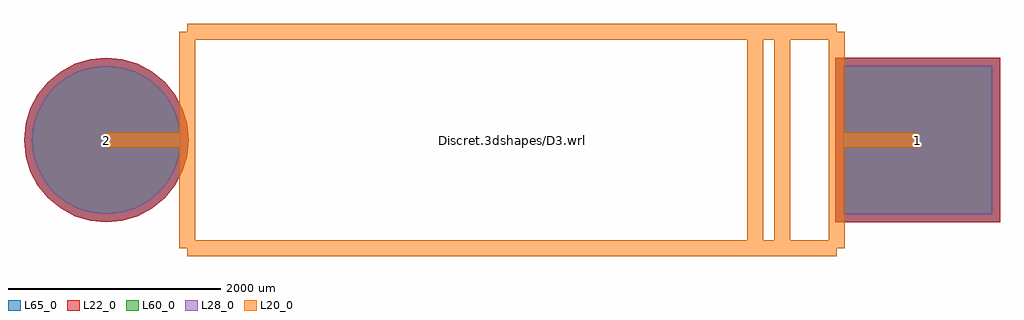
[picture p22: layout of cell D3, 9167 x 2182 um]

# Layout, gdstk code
import gdstk
lib = gdstk.Library(unit=1e-6, precision=1e-09)
def R(c, l, rs):  # rectangles x0, y0, x1, y1
    for r in rs: c.add(gdstk.rectangle(r[:2], r[2:], *l))
def P(c, l, *ps):  # polygons
    for p in ps: c.add(gdstk.Polygon(p, *l))
L20_0 = (20, 0)
L22_0 = (22, 0)
L28_0 = (28, 0)
L60_0 = (60, 0)
L65_0 = (65, 0)

c_d3 = lib.new_cell('D3')
R(c_d3, L22_0, [(3036.5,-773.5,4583.5,773.5)])
P(c_d3, L22_0, [(-3036.5,0),(-3051.363,150.902),(-3095.379,296.006),(-3166.858,429.734),(-3263.053,546.947),(-3380.266,643.142),(-3513.994,714.621),(-3659.098,758.637),(-3810,773.5),(-3960.902,758.637),(-4106.006,714.621),(-4239.734,643.142),(-4356.947,546.947),(-4453.142,429.734),(-4524.621,296.006),(-4568.637,150.902),(-4583.5,0),(-4568.637,-150.902),(-4524.621,-296.006),(-4453.142,-429.734),(-4356.947,-546.947),(-4239.734,-643.142),(-4106.006,-714.621),(-3960.902,-758.637),(-3810,-773.5),(-3659.098,-758.637),(-3513.994,-714.621),(-3380.266,-643.142),(-3263.053,-546.947),(-3166.858,-429.734),(-3095.379,-296.006),(-3051.363,-150.902)])
R(c_d3, L28_0, [(3111.5,-698.5,4508.5,698.5)])
P(c_d3, L28_0, [(-3111.5,0),(-3124.921,136.271),(-3164.67,267.304),(-3229.218,388.066),(-3316.086,493.914),(-3421.934,580.782),(-3542.696,645.33),(-3673.729,685.079),(-3810,698.5),(-3946.271,685.079),(-4077.304,645.33),(-4198.066,580.782),(-4303.914,493.914),(-4390.782,388.066),(-4455.33,267.304),(-4495.079,136.271),(-4508.5,0),(-4495.079,-136.271),(-4455.33,-267.304),(-4390.782,-388.066),(-4303.914,-493.914),(-4198.066,-580.782),(-4077.304,-645.33),(-3946.271,-685.079),(-3810,-698.5),(-3673.729,-685.079),(-3542.696,-645.33),(-3421.934,-580.782),(-3316.086,-493.914),(-3229.218,-388.066),(-3164.67,-267.304),(-3124.921,-136.271)])
R(c_d3, L60_0, [(3111.5,-698.5,4508.5,698.5)])
P(c_d3, L60_0, [(-3111.5,0),(-3124.921,136.271),(-3164.67,267.304),(-3229.218,388.066),(-3316.086,493.914),(-3421.934,580.782),(-3542.696,645.33),(-3673.729,685.079),(-3810,698.5),(-3946.271,685.079),(-4077.304,645.33),(-4198.066,580.782),(-4303.914,493.914),(-4390.782,388.066),(-4455.33,267.304),(-4495.079,136.271),(-4508.5,0),(-4495.079,-136.271),(-4455.33,-267.304),(-4390.782,-388.066),(-4303.914,-493.914),(-4198.066,-580.782),(-4077.304,-645.33),(-3946.271,-685.079),(-3810,-698.5),(-3673.729,-685.079),(-3542.696,-645.33),(-3421.934,-580.782),(-3316.086,-493.914),(-3229.218,-388.066),(-3164.67,-267.304),(-3124.921,-136.271)])
R(c_d3, L65_0, [(3036.5,-773.5,4583.5,773.5)])
P(c_d3, L65_0, [(-3036.5,0),(-3051.363,150.902),(-3095.379,296.006),(-3166.858,429.734),(-3263.053,546.947),(-3380.266,643.142),(-3513.994,714.621),(-3659.098,758.637),(-3810,773.5),(-3960.902,758.637),(-4106.006,714.621),(-4239.734,643.142),(-4356.947,546.947),(-4453.142,429.734),(-4524.621,296.006),(-4568.637,150.902),(-4583.5,0),(-4568.637,-150.902),(-4524.621,-296.006),(-4453.142,-429.734),(-4356.947,-546.947),(-4239.734,-643.142),(-4106.006,-714.621),(-3960.902,-758.637),(-3810,-773.5),(-3659.098,-758.637),(-3513.994,-714.621),(-3380.266,-643.142),(-3263.053,-546.947),(-3166.858,-429.734),(-3095.379,-296.006),(-3051.363,-150.902)])
c_d3.add(gdstk.FlexPath([(2286,-1016),(2286,1016)], 149.998, ends="flush", simple_path=True, layer=20, datatype=0))  # L20_0
c_d3.add(gdstk.FlexPath([(2540,1016),(2540,-1016)], 149.998, ends="flush", simple_path=True, layer=20, datatype=0))  # L20_0
c_d3.add(gdstk.FlexPath([(3048,-1016),(3048,0)], 149.998, ends="flush", simple_path=True, layer=20, datatype=0))  # L20_0
c_d3.add(gdstk.FlexPath([(-3048,-1016),(3048,-1016)], 149.998, ends="flush", simple_path=True, layer=20, datatype=0))  # L20_0
c_d3.add(gdstk.FlexPath([(-3048,0),(-3048,-1016)], 149.998, ends="flush", simple_path=True, layer=20, datatype=0))  # L20_0
c_d3.add(gdstk.FlexPath([(-3048,0),(-3810,0)], 149.998, ends="flush", simple_path=True, layer=20, datatype=0))  # L20_0
c_d3.add(gdstk.FlexPath([(-3048,1016),(-3048,0)], 149.998, ends="flush", simple_path=True, layer=20, datatype=0))  # L20_0
c_d3.add(gdstk.FlexPath([(3048,1016),(-3048,1016)], 149.998, ends="flush", simple_path=True, layer=20, datatype=0))  # L20_0
c_d3.add(gdstk.FlexPath([(3048,0),(3048,1016)], 149.998, ends="flush", simple_path=True, layer=20, datatype=0))  # L20_0
c_d3.add(gdstk.FlexPath([(3810,0),(3048,0)], 149.998, ends="flush", simple_path=True, layer=20, datatype=0))  # L20_0
c_d3.add(gdstk.Label('Discret.3dshapes/D3.wrl', (0,0), layer=12, texttype=0))
c_d3.add(gdstk.Label('2', (-3810,0), layer=28, texttype=0))
c_d3.add(gdstk.Label('1', (3810,0), layer=28, texttype=0))
c_d3.add(gdstk.Label('type', (0,0), layer=9, texttype=0))
c_d3.add(gdstk.Label('devicename', (0,0), layer=9, texttype=0))

lib.write_gds('D3.gds')
